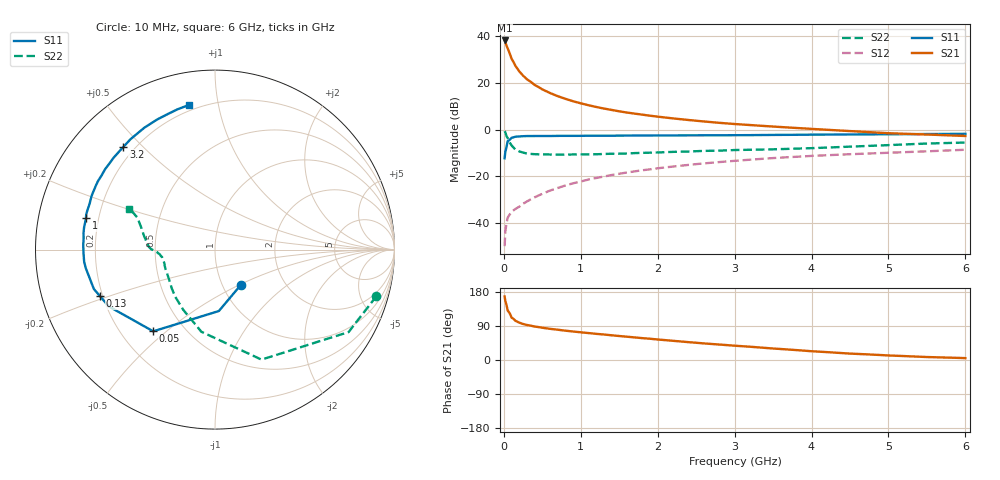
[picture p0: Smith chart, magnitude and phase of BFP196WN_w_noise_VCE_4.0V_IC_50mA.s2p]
! (c) 2017  Infineon Technologies AG, Munich
! Infineon Technologies  Discrete & RF Semiconductors
! BFP196WN
! VCE =  4.0 V,  IC =  50 mA
! Common Emitter S-Parameters:  Jan 2017
# GHz  S  MA  R  50
!  f  S11  S21  S12  S22
! GHz  MAG  ANG  MAG  ANG  MAG  ANG  MAG  ANG
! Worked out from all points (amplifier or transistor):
!   77 points, 10 MHz to 6 GHz, reference 50 ohm
!   highest |S21| = 38.3 dB at 10 MHz (marker M1)
!   |S21| within 3 dB of that: start of sweep to 44.33 MHz
!   unconditionally stable (mu >= 1): 619.3 MHz to 2.689 GHz
!   at 130 MHz: K = 0.56, MSG = 31.6 dB, |S12| = -34.4 dB
!   at 2.2 GHz: K = 1.02, MAG = 9.4 dB, |S12| = -15.8 dB
!   at 6 GHz: K = 0.92, MSG = 2.9 dB, |S12| = -8.6 dB
!   lowest NFmin = 1.27 dB at 450 MHz
!   S11 on the Smith chart (normalised r, x): 10 MHz: 1.21, -0.51; 50 MHz: 0.33, -0.45; 130 MHz: 0.19, -0.19; 1 GHz: 0.15, +0.12; 3.2 GHz: 0.16, +0.44; 6 GHz: 0.17, +0.82
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0.01  0.2445 -54.4  81.86 167.6  0.0032 79.3  0.9361 -16.1
0.02  0.3429 -86.4  74.58 155.1  0.0068 72.2  0.8747 -31.7
0.05  0.5708 -127.1  55.11 130.3  0.013 52.7  0.6654 -67.1
0.1  0.6714 -151.9  33.34 111.9  0.0173 49.3  0.4642 -99.4
0.13  0.6918 -158.1  27.35 107.6  0.019 49.0  0.4075 -109.6
0.15  0.7097 -162.0  23.48 103.6  0.0201 48.9  0.3787 -118.0
0.2  0.7176 -167.9  17.87 98.6  0.0224 53.4  0.3437 -130.1
0.25  0.7273 -171.8  14.43 95.0  0.026 55.8  0.3239 -138.0
0.3  0.7322 -174.7  12.09 92.4  0.029 59.1  0.3093 -144.5
0.4  0.7332 -179.0  9.151 88.3  0.0356 62.4  0.2992 -152.2
0.5  0.7346 177.7  7.332 85.1  0.0423 65.1  0.2964 -157.8
0.6  0.7344 175.1  6.126 82.3  0.0497 66.1  0.2946 -161.9
0.8  0.7398 170.5  4.597 77.4  0.0639 68.3  0.2929 -166.5
1  0.7402 166.3  3.683 73.1  0.0778 68.5  0.2964 -170.0
1.1  0.7439 164.7  3.352 71.1  0.0856 68.4  0.2972 -171.2
1.5  0.7475 157.8  2.481 63.3  0.1141 66.6  0.3074 -175.0
2.1  0.755 148.2  1.827 52.4  0.156 63.0  0.3307 -178.2
3.1  0.765 133.2  1.293 36.4  0.2218 54.9  0.3698 177.2
3.2  0.7666 131.8  1.261 35.0  0.2281 54.0  0.3724 176.4
4.1  0.7858 119.0  1.021 22.0  0.2795 46.3  0.4089 167.6
5.1  0.8014 108.3  0.832 11.2  0.3257 38.7  0.4757 157.1
6  0.8184 100.3  0.734 5.0  0.3727 32.8  0.5312 154.7
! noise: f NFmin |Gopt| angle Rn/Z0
0.45  1.27  0.53  -177  0.05
0.9  1.39  0.56  -171  0.05
1.9  2.33  0.69  -148  0.16
2.4  3.05  0.7  -140  0.28
